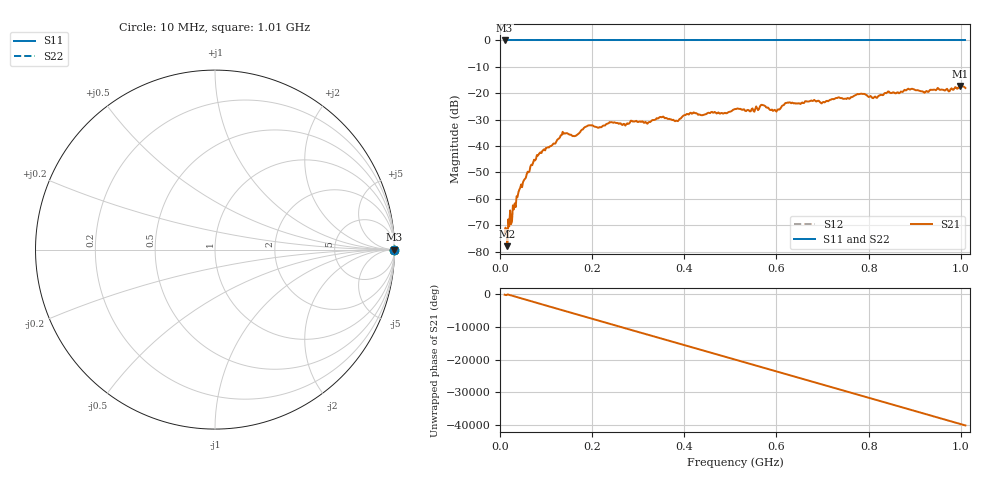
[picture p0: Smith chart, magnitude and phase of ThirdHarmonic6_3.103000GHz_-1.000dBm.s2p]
! 8/17/2025 9:09:41 AM
! C:\ANRITSUVNA\TEMP\TEMP.S2P
! CHANNEL.1
! TR.MEASUREMENT
! RAW.DATA
! RF.CORRECTION.OFF
! AVERAGING.OFF
! IF.BANDWIDTH: 5KHZ
! SWEEPTYPE:  FREQ.SWEEP(Linear)
! Reference Plane Port Info
! PORT:  PORT1  PORT2
! DISTANCE:  0  m  0  m
! TIME:  0  s  0  s
! PHASE.OFFSET:  0  deg.  0  deg.
! LOSS:  0  dB  0  dB
! REF.LOSS:  0  dB  0  dB
! REF.FREQ:  0  Hz  0  Hz
! Power Info
! POWER:  -20  dBm  -20  dBm
! EFF.POWER:  -20  dBm  -20  dBm
! SOURCE.ATTEN:  0  dB  0  dB
! TEST.ATTEN:  0  dB  0  dB
# GHZ S RI R 50.0
! FREQ.GHZ  S11RE  S11IM  S21RE  S21IM  S12RE  S12IM  S22RE  S22IM
!; PortSelection: Port_12
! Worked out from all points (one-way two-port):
!   501 points, 10 MHz to 1.01 GHz, reference 50 ohm
!   highest |S21| = -17.26 dB at 998 MHz (marker M1); lowest = -77.9 dB at 16 MHz (marker M2)
!   lowest |S11| = 0.0 dB at 10 MHz (marker M3)
!   |S11| at or under -10 dB: nowhere
!   |S22| runs from 0.0 to 0.0 dB; largest |S21 - S12| = 1.1
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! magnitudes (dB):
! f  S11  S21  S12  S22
! 10 MHz  0.0  -73.1  0.0  0.0
! 16 MHz  0.0  -77.9  0.0  0.0
! 42 MHz  0.0  -56.5  0.0  0.0
! 84 MHz  0.0  -43.2  0.0  0.0
! 136 MHz  0.0  -34.6  0.0  0.0
! 162 MHz  0.0  -36.3  0.0  0.0
! 178 MHz  0.0  -33.8  0.0  0.0
! 344 MHz  0.0  -29.5  0.0  0.0
! 382 MHz  0.0  -30.4  0.0  0.0
! 416 MHz  0.0  -27.7  0.0  0.0
! 510 MHz  0.0  -26.0  0.0  0.0
! 548 MHz  0.0  -25.7  0.0  0.0
! 570 MHz  0.0  -24.5  0.0  0.0
! 596 MHz  0.0  -26.3  0.0  0.0
! 624 MHz  0.0  -23.5  0.0  0.0
! 678 MHz  0.0  -23.0  0.0  0.0
! 700 MHz  0.0  -23.5  0.0  0.0
! 780 MHz  0.0  -20.3  0.0  0.0
! 814 MHz  0.0  -21.2  0.0  0.0
! 844 MHz  0.0  -19.4  0.0  0.0
! 998 MHz  0.0  -17.3  0.0  0.0
! 1.01 GHz  0.0  -18.0  0.0  0.0
